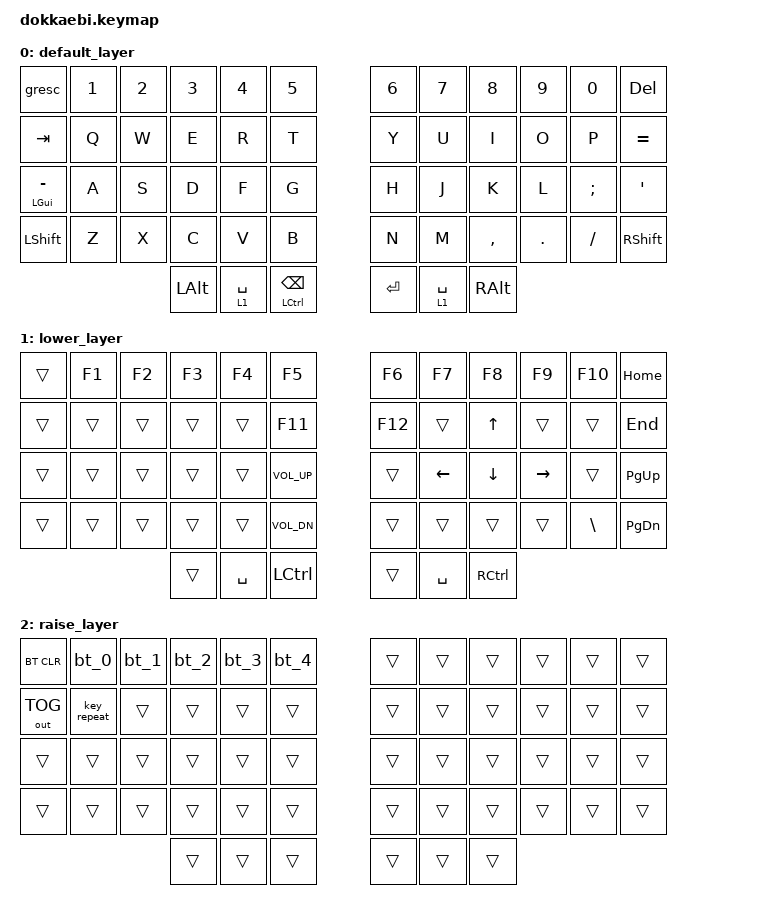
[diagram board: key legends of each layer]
#include <behaviors.dtsi>
#include <dt-bindings/zmk/keys.h>
#include <dt-bindings/zmk/bt.h>
#include <dt-bindings/zmk/ext_power.h>
#include <dt-bindings/zmk/outputs.h>

&mt {
    tapping-term-ms = <160>;
};

&lt {
    tapping-term-ms = <175>;
    quick-tap-ms = <120>;
};

/ {
    combos {
        compatible = "zmk,combos";
        combo_lbrc {
            timeout-ms = <50>;
            key-positions = <24 25>;
            bindings = <&kp LBKT>;
        };
        combo_rbrc {
            timeout-ms = <50>;
            key-positions = <34 35>;
            bindings = <&kp RBKT>;
        };
        combo_lt2 {
            timeout-ms = <50>;
            key-positions = <48 49 50>;
            bindings = <&mo 2>;
        };
    };

    behaviors {
        gresc: grave_escape {
            compatible = "zmk,behavior-mod-morph";
            label = "GRAVE_ESCAPE";
            #binding-cells = <0>;
            bindings = <&kp ESC>, <&kp GRAVE>;
            mods = <(MOD_LGUI|MOD_LSFT|MOD_RGUI|MOD_RSFT|MOD_RALT)>;
            keep-mods = <(MOD_RSFT)>;
        };
        td_lsftbkt: tap_dance_lsft_bkt {
            compatible = "zmk,behavior-tap-dance";
            label = "TAP_DANCE_LSFT_BKT";
            #binding-cells = <0>;
            tapping-term-ms = <175>;
            bindings = <&kp LSHFT>, <&kp LBKT>;
        };
        td_rsftbkt: tap_dance_rsft_bkt {
            compatible = "zmk,behavior-tap-dance";
            label = "TAP_DANCE_RSFT_BKT";
            #binding-cells = <0>;
            tapping-term-ms = <175>;
            bindings = <&kp RSHFT>, <&kp RBKT>;
        };
        gqt: global-quick-tap {
            compatible = "zmk,behavior-hold-tap";
            label = "GLOBAL_QUICK_TAP";
            #binding-cells = <2>;
            flavor = "tap-preferred";
            tapping-term-ms = <160>;
            quick-tap-ms = <120>;
            global-quick-tap;
            bindings = <&kp>, <&kp>;
        };
    };

    macros {
        bt_0: bt_profile_macro_0 {
            label = "BT_0";
            compatible = "zmk,behavior-macro";
            #binding-cells = <0>;
            bindings
                = <&out OUT_BLE>
                , <&bt BT_SEL 0>;
        };

        bt_1: bt_profile_macro_1 {
            label = "BT_1";
            compatible = "zmk,behavior-macro";
            #binding-cells = <0>;
            bindings
                = <&out OUT_BLE>
                , <&bt BT_SEL 1>;
        };
        
        bt_2: bt_profile_macro_2 {
            label = "BT_2";
            compatible = "zmk,behavior-macro";
            #binding-cells = <0>;
            bindings
                = <&out OUT_BLE>
                , <&bt BT_SEL 2>;
        };

        bt_3: bt_profile_macro_3 {
            label = "BT_3";
            compatible = "zmk,behavior-macro";
            #binding-cells = <0>;
            bindings
                = <&out OUT_BLE>
                , <&bt BT_SEL 3>;
        };

        bt_4: bt_profile_macro_4 {
            label = "BT_4";
            compatible = "zmk,behavior-macro";
            #binding-cells = <0>;
            bindings
                = <&out OUT_BLE>
                , <&bt BT_SEL 4>;
        };
    };

    keymap {
        compatible = "zmk,keymap";

        default_layer {
            bindings = <
&gresc          &kp N1 &kp N2 &kp N3   &kp N4   &kp N5                        &kp N6 &kp N7   &kp N8    &kp N9  &kp N0   &kp DEL
&kp TAB         &kp Q  &kp W  &kp E    &kp R    &kp T                         &kp Y  &kp U    &kp I     &kp O   &kp P    &kp EQUAL
&mt LGUI MINUS  &kp A  &kp S  &kp D    &kp F    &kp G                         &kp H  &kp J    &kp K     &kp L   &kp SEMI &kp SQT
&kp LSHFT       &kp Z  &kp X  &kp C    &kp V    &kp B                         &kp N  &kp M    &kp COMMA &kp DOT &kp FSLH &kp RSHFT
                           &kp LALT &lt 1 SPACE &gqt LCTRL BSPC           &kp ENTER  &lt 1 SPACE  &kp RALT
            >;

        };

        lower_layer {
            bindings = <
&trans     &kp F1     &kp F2     &kp F3     &kp F4     &kp F5                 &kp F6     &kp F7     &kp F8     &kp F9     &kp F10    &kp HOME
&trans     &trans     &trans     &trans     &trans     &kp F11                &kp F12    &trans     &kp UP     &trans     &trans     &kp END
&trans     &trans     &trans     &trans     &trans     &kp C_VOL_UP           &trans     &kp LEFT   &kp DOWN   &kp RIGHT  &trans     &kp PG_UP
&trans     &trans     &trans     &trans     &trans     &kp C_VOL_DN           &trans     &trans     &trans     &trans     &kp BSLH   &kp PG_DN
                                 &trans     &kp SPACE  &kp LCTRL              &trans     &kp SPACE  &kp RCTRL
            >;

        };

        raise_layer {
            bindings = <
&bt BT_CLR    &bt_0         &bt_1         &bt_2         &bt_3         &bt_4                        &trans     &trans     &trans     &trans     &trans     &trans
&out OUT_TOG  &key_repeat        &trans        &trans        &trans        &trans                       &trans     &trans     &trans     &trans     &trans     &trans
&trans        &trans        &trans        &trans        &trans        &trans                       &trans     &trans     &trans     &trans     &trans     &trans
&trans        &trans        &trans        &trans        &trans        &trans                       &trans     &trans     &trans     &trans     &trans     &trans
                                          &trans        &trans        &trans                       &trans     &trans     &trans
            >;

        };
    };
};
